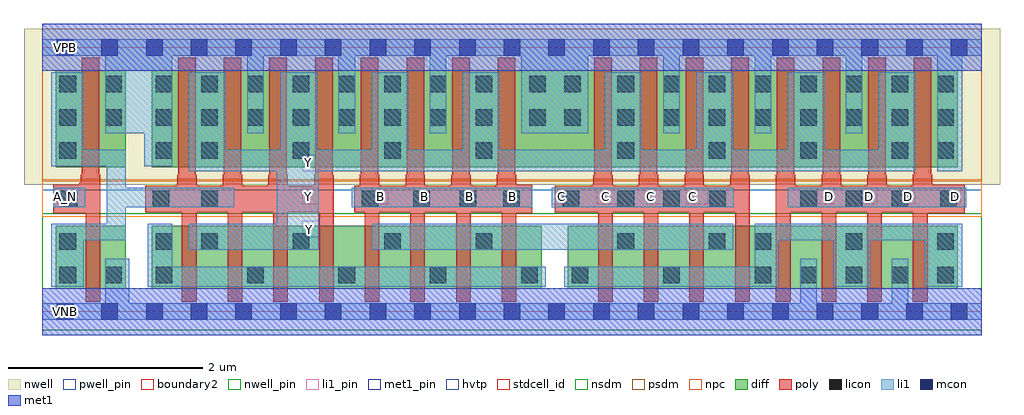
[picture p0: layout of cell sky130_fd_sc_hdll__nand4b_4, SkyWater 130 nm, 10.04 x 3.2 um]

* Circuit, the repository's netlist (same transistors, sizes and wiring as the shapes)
* Copyright 2020 The SkyWater PDK Authors
*
* Licensed under the Apache License, Version 2.0 (the "License");
* you may not use this file except in compliance with the License.
* You may obtain a copy of the License at
*
*     https://www.apache.org/licenses/LICENSE-2.0
*
* Unless required by applicable law or agreed to in writing, software
* distributed under the License is distributed on an "AS IS" BASIS,
* WITHOUT WARRANTIES OR CONDITIONS OF ANY KIND, either express or implied.
* See the License for the specific language governing permissions and
* limitations under the License.
*
* SPDX-License-Identifier: Apache-2.0

.SUBCKT sky130_fd_sc_hdll__nand4b_4 A_N B C D VGND VNB VPB VPWR Y
*.PININFO A_N:I B:I C:I D:I VGND:I VNB:I VPB:I VPWR:I Y:O
MMP0 Y A VPWR VPB sky130_fd_pr__pfet_01v8_hvt m=4 w=1.0U l=0.18U mult=1 sa=0.265
+ sb=0.265 sd=0.28 area=0.063 perim=1.14
MMP1 Y B VPWR VPB sky130_fd_pr__pfet_01v8_hvt m=4 w=1.0U l=0.18U mult=1 sa=0.265
+ sb=0.265 sd=0.28 area=0.063 perim=1.14
MMP2 Y C VPWR VPB sky130_fd_pr__pfet_01v8_hvt m=4 w=1.0U l=0.18U mult=1 sa=0.265
+ sb=0.265 sd=0.28 area=0.063 perim=1.14
MMP3 Y D VPWR VPB sky130_fd_pr__pfet_01v8_hvt m=4 w=1.0U l=0.18U mult=1 sa=0.265
+ sb=0.265 sd=0.28 area=0.063 perim=1.14
MMIP0 A A_N VPWR VPB sky130_fd_pr__pfet_01v8_hvt m=1 w=1.0U l=0.18U mult=1 sa=0.265
+ sb=0.265 sd=0.28 area=0.063 perim=1.14
MMN0 Y A sndA VNB sky130_fd_pr__nfet_01v8 m=4 w=0.65U l=0.15U mult=1 sa=0.265 sb=0.265
+ sd=0.28 area=0.063 perim=1.14
MMN1 sndA B sndB VNB sky130_fd_pr__nfet_01v8 m=4 w=0.65U l=0.15U mult=1 sa=0.265
+ sb=0.265 sd=0.28 area=0.063 perim=1.14
MMN2 sndB C sndC VNB sky130_fd_pr__nfet_01v8 m=4 w=0.65U l=0.15U mult=1 sa=0.265
+ sb=0.265 sd=0.28 area=0.063 perim=1.14
MMN3 sndC D VGND VNB sky130_fd_pr__nfet_01v8 m=4 w=0.65U l=0.15U mult=1 sa=0.265
+ sb=0.265 sd=0.28 area=0.063 perim=1.14
MMIN0 A A_N VGND VNB sky130_fd_pr__nfet_01v8 m=1 w=0.65U l=0.15U mult=1 sa=0.265
+ sb=0.265 sd=0.28 area=0.063 perim=1.14
.ENDS sky130_fd_sc_hdll__nand4b_4

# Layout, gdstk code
import gdstk
lib = gdstk.Library(unit=1e-6, precision=1e-09)
def R(c, l, rs):  # rectangles x0, y0, x1, y1
    for r in rs: c.add(gdstk.rectangle(r[:2], r[2:], *l))
def A(c, l, x, y, w, h, nx, ny, dx, dy):  # array of equal rectangles
    R(c, l, [(x+i*dx, y+j*dy, x+i*dx+w, y+j*dy+h) for i in range(nx) for j in range(ny)])
def P(c, l, *ps):  # polygons
    for p in ps: c.add(gdstk.Polygon(p, *l))
nwell_pin = (64, 16)
nwell = (64, 20)
diff = (65, 20)
poly = (66, 20)
licon = (66, 44)
li1_pin = (67, 16)
li1 = (67, 20)
mcon = (67, 44)
met1_pin = (68, 16)
met1 = (68, 20)
hvtp = (78, 44)
stdcell_id = (81, 4)
nsdm = (93, 44)
psdm = (94, 20)
npc = (95, 20)
pwell_pin = (122, 16)
boundary2 = (236, 0)

sky130_fd_sc_hdll__nand4 = lib.new_cell('sky130_fd_sc_hdll__nand4b_4')
R(sky130_fd_sc_hdll__nand4, nwell_pin, [(0.15,2.635,0.32,2.805)])
R(sky130_fd_sc_hdll__nand4, nwell, [(-0.19,1.305,9.85,2.91)])
R(sky130_fd_sc_hdll__nand4, diff, [(0.135,0.235,0.855,0.885), (1.125,0.235,5.135,0.885), (5.405,0.235,9.415,0.885), (0.135,1.485,0.855,2.485), (1.125,1.485,9.415,2.485)])
P(sky130_fd_sc_hdll__nand4, poly, [(0.595,1.41),(0.585,1.41),(0.585,2.615),(0.405,2.615),(0.405,1.41),(0.395,1.41),(0.395,1.325),(0.38,1.325),(0.38,1.305),(0.11,1.305),(0.11,1.015),(0.445,1.015),(0.445,0.105),(0.595,0.105)],
  [(2.995,1.41),(2.985,1.41),(2.985,2.615),(2.805,2.615),(2.805,1.41),(2.795,1.41),(2.795,1.295),(2.525,1.295),(2.525,1.41),(2.515,1.41),(2.515,2.615),(2.335,2.615),(2.335,1.41),(2.325,1.41),(2.325,1.295),(2.055,1.295),(2.055,1.41),(2.045,1.41),(2.045,2.615),(1.865,2.615),(1.865,1.41),(1.855,1.41),(1.855,1.295),(1.585,1.295),(1.585,1.41),(1.575,1.41),(1.575,2.615),(1.395,2.615),(1.395,1.41),(1.385,1.41),(1.385,1.295),(1.055,1.295),(1.055,1.025),(1.435,1.025),(1.435,0.105),(1.585,0.105),(1.585,1.025),(1.905,1.025),(1.905,0.105),(2.055,0.105),(2.055,1.025),(2.375,1.025),(2.375,0.105),(2.525,0.105),(2.525,1.025),(2.845,1.025),(2.845,0.105),(2.995,0.105)],
  [(5.04,1.305),(4.875,1.305),(4.875,1.41),(4.865,1.41),(4.865,2.615),(4.685,2.615),(4.685,1.41),(4.675,1.41),(4.675,1.295),(4.405,1.295),(4.405,1.41),(4.395,1.41),(4.395,2.615),(4.215,2.615),(4.215,1.41),(4.205,1.41),(4.205,1.295),(3.935,1.295),(3.935,1.41),(3.925,1.41),(3.925,2.615),(3.745,2.615),(3.745,1.41),(3.735,1.41),(3.735,1.295),(3.465,1.295),(3.465,1.41),(3.455,1.41),(3.455,2.615),(3.275,2.615),(3.275,1.41),(3.265,1.41),(3.265,1.295),(3.205,1.295),(3.205,1.025),(3.315,1.025),(3.315,0.105),(3.465,0.105),(3.465,1.025),(3.785,1.025),(3.785,0.105),(3.935,0.105),(3.935,1.025),(4.255,1.025),(4.255,0.105),(4.405,0.105),(4.405,1.025),(4.725,1.025),(4.725,0.105),(4.875,0.105),(4.875,1.015),(5.04,1.015)],
  [(7.275,1.41),(7.265,1.41),(7.265,2.615),(7.085,2.615),(7.085,1.41),(7.075,1.41),(7.075,1.295),(6.805,1.295),(6.805,1.41),(6.795,1.41),(6.795,2.615),(6.615,2.615),(6.615,1.41),(6.605,1.41),(6.605,1.295),(6.335,1.295),(6.335,1.41),(6.325,1.41),(6.325,2.615),(6.145,2.615),(6.145,1.41),(6.135,1.41),(6.135,1.295),(5.865,1.295),(5.865,1.41),(5.855,1.41),(5.855,2.615),(5.675,2.615),(5.675,1.41),(5.665,1.41),(5.665,1.295),(5.27,1.295),(5.27,1.025),(5.715,1.025),(5.715,0.105),(5.865,0.105),(5.865,1.025),(6.185,1.025),(6.185,0.105),(6.335,0.105),(6.335,1.025),(6.655,1.025),(6.655,0.105),(6.805,0.105),(6.805,1.025),(7.125,1.025),(7.125,0.105),(7.275,0.105)],
  [(9.485,1.305),(9.155,1.305),(9.155,1.41),(9.145,1.41),(9.145,2.615),(8.965,2.615),(8.965,1.41),(8.955,1.41),(8.955,1.295),(8.685,1.295),(8.685,1.41),(8.675,1.41),(8.675,2.615),(8.495,2.615),(8.495,1.41),(8.485,1.41),(8.485,1.295),(8.215,1.295),(8.215,1.41),(8.205,1.41),(8.205,2.615),(8.025,2.615),(8.025,1.41),(8.015,1.41),(8.015,1.295),(7.745,1.295),(7.745,1.41),(7.735,1.41),(7.735,2.615),(7.555,2.615),(7.555,1.41),(7.545,1.41),(7.545,0.105),(7.695,0.105),(7.695,1.025),(8.015,1.025),(8.015,0.105),(8.165,0.105),(8.165,1.025),(8.485,1.025),(8.485,0.105),(8.635,0.105),(8.635,1.025),(8.955,1.025),(8.955,0.105),(9.105,0.105),(9.105,1.015),(9.485,1.015)])
A(sky130_fd_sc_hdll__nand4, licon, 1.165, 0.295, 0.17, 0.17, 5, 1, 0.94, 0)
A(sky130_fd_sc_hdll__nand4, licon, 5.445, 0.295, 0.17, 0.17, 3, 1, 0.94, 0)
A(sky130_fd_sc_hdll__nand4, licon, 7.795, 0.295, 0.17, 0.17, 4, 1, 0.47, 0)
A(sky130_fd_sc_hdll__nand4, licon, 1.635, 0.635, 0.17, 0.17, 4, 2, 0.94, 0.94)
A(sky130_fd_sc_hdll__nand4, licon, 7.325, 0.635, 0.17, 0.17, 3, 1, 0.94, 0)
A(sky130_fd_sc_hdll__nand4, licon, 7.795, 1.075, 0.17, 0.17, 3, 1, 0.47, 0)
A(sky130_fd_sc_hdll__nand4, licon, 0.175, 1.575, 0.17, 0.17, 1, 3, 0, 0.34)
A(sky130_fd_sc_hdll__nand4, licon, 5.915, 1.575, 0.17, 0.17, 4, 1, 0.94, 0)
A(sky130_fd_sc_hdll__nand4, licon, 1.165, 1.915, 0.17, 0.17, 8, 2, 0.47, 0.34)
A(sky130_fd_sc_hdll__nand4, licon, 5.915, 1.915, 0.17, 0.17, 8, 2, 0.47, 0.34)
R(sky130_fd_sc_hdll__nand4, licon, [(0.175,0.295,0.345,0.465), (0.645,0.295,0.815,0.465), (0.175,0.635,0.345,0.805), (1.165,0.635,1.335,0.805), (5.915,0.635,6.085,0.805), (6.855,0.635,7.025,0.805), (0.19,1.075,0.36,1.245), (1.135,1.075,1.305,1.245), (1.635,1.075,1.805,1.245), (3.285,1.075,3.455,1.245), (3.815,1.075,3.985,1.245), (4.29,1.075,4.46,1.245), (4.74,1.075,4.91,1.245), (5.35,1.075,5.52,1.245), (5.915,1.075,6.085,1.245), (6.385,1.075,6.555,1.245), (6.86,1.075,7.03,1.245), (9.235,1.075,9.405,1.245), (1.165,1.575,1.335,1.745), (9.205,1.575,9.375,1.745), (0.645,1.915,0.815,2.085), (5.005,1.915,5.175,2.085), (5.365,1.915,5.535,2.085), (0.645,2.255,0.815,2.425), (5.005,2.255,5.175,2.425), (5.365,2.255,5.535,2.425)])
A(sky130_fd_sc_hdll__nand4, li1_pin, 2.67, 0.765, 0.17, 0.17, 1, 3, 0, 0.34)
R(sky130_fd_sc_hdll__nand4, li1_pin, [(0.15,1.105,0.32,1.275), (3.385,1.105,3.555,1.275), (3.82,1.105,3.99,1.275), (4.29,1.105,4.46,1.275), (4.74,1.105,4.91,1.275), (5.24,1.105,5.41,1.275), (5.7,1.105,5.92,1.275), (6.21,1.105,6.43,1.275), (6.625,1.105,6.845,1.275), (7.97,1.105,8.14,1.275), (8.415,1.105,8.585,1.275), (8.81,1.105,8.98,1.275), (9.275,1.105,9.445,1.275)])
R(sky130_fd_sc_hdll__nand4, li1, [(3.385,0.635,7.105,0.905), (0.11,1.075,0.44,1.275), (3.18,1.075,5.04,1.275), (5.24,1.075,7.11,1.275), (7.665,1.075,9.505,1.275)])
P(sky130_fd_sc_hdll__nand4, li1, [(1.975,1.275),(0.855,1.275),(0.855,1.665),(0.425,1.665),(0.425,2.465),(0.09,2.465),(0.09,1.495),(0.66,1.495),(0.66,0.905),(0.09,0.905),(0.09,0.255),(0.425,0.255),(0.425,0.735),(0.855,0.735),(0.855,1.075),(1.975,1.075)],
  [(5.175,0.465),(1.335,0.465),(1.335,0.905),(1.085,0.905),(1.085,0.255),(5.175,0.255)],
  [(8.985,2.465),(8.605,2.465),(8.605,1.665),(8.045,1.665),(8.045,2.465),(7.665,2.465),(7.665,1.665),(7.105,1.665),(7.105,2.465),(6.725,2.465),(6.725,1.665),(6.165,1.665),(6.165,2.465),(5.785,2.465),(5.785,1.665),(4.705,1.665),(4.705,2.465),(4.325,2.465),(4.325,1.665),(3.765,1.665),(3.765,2.465),(3.385,2.465),(3.385,1.665),(2.825,1.665),(2.825,2.465),(2.445,2.465),(2.445,1.665),(1.885,1.665),(1.885,2.465),(1.505,2.465),(1.505,1.445),(2.41,1.445),(2.41,0.905),(1.505,0.905),(1.505,0.635),(2.84,0.635),(2.84,1.445),(8.985,1.445)],
  [(9.66,0.085),(8.905,0.085),(8.905,0.545),(8.735,0.545),(8.735,0.085),(7.965,0.085),(7.965,0.545),(7.795,0.545),(7.795,0.085),(0.895,0.085),(0.895,0.545),(0.645,0.545),(0.645,0.085),(0,0.085),(0,-0.085),(9.66,-0.085)],
  [(9.66,2.805),(0,2.805),(0,2.635),(0.645,2.635),(0.645,1.835),(1.045,1.835),(1.045,1.495),(1.335,1.495),(1.335,2.635),(2.105,2.635),(2.105,1.835),(2.275,1.835),(2.275,2.635),(3.045,2.635),(3.045,1.835),(3.215,1.835),(3.215,2.635),(3.985,2.635),(3.985,1.835),(4.155,1.835),(4.155,2.635),(4.925,2.635),(4.925,1.835),(5.615,1.835),(5.615,2.635),(6.385,2.635),(6.385,1.835),(6.555,1.835),(6.555,2.635),(7.325,2.635),(7.325,1.835),(7.495,1.835),(7.495,2.635),(8.265,2.635),(8.265,1.835),(8.435,1.835),(8.435,2.635),(9.205,2.635),(9.205,1.445),(9.46,1.445),(9.46,2.635),(9.66,2.635)],
  [(9.46,0.905),(7.325,0.905),(7.325,0.465),(5.365,0.465),(5.365,0.255),(7.575,0.255),(7.575,0.735),(8.135,0.735),(8.135,0.255),(8.515,0.255),(8.515,0.735),(9.075,0.735),(9.075,0.255),(9.46,0.255)])
A(sky130_fd_sc_hdll__nand4, mcon, 0.145, -0.085, 0.17, 0.17, 21, 2, 0.46, 2.72)
R(sky130_fd_sc_hdll__nand4, met1_pin, [(0.15,-0.085,0.32,0.085), (0.15,2.635,0.32,2.805)])
R(sky130_fd_sc_hdll__nand4, met1, [(0,-0.24,9.66,0.24), (0,2.48,9.66,2.96)])
R(sky130_fd_sc_hdll__nand4, hvtp, [(0,1.25,9.66,2.72)])
R(sky130_fd_sc_hdll__nand4, stdcell_id, [(0,0,9.66,2.72)])
R(sky130_fd_sc_hdll__nand4, nsdm, [(0,-0.19,9.66,1.015)])
R(sky130_fd_sc_hdll__nand4, psdm, [(0,1.355,9.66,2.91)])
R(sky130_fd_sc_hdll__nand4, npc, [(0,0.975,9.66,1.345)])
R(sky130_fd_sc_hdll__nand4, pwell_pin, [(0.15,-0.085,0.32,0.085)])
R(sky130_fd_sc_hdll__nand4, boundary2, [(0,0,9.66,2.72)])
sky130_fd_sc_hdll__nand4.add(gdstk.Label('C', (6.685,1.19), layer=67, texttype=5))
sky130_fd_sc_hdll__nand4.add(gdstk.Label('D', (8.51,1.19), layer=67, texttype=5))
sky130_fd_sc_hdll__nand4.add(gdstk.Label('D', (8.095,1.19), layer=67, texttype=5))
sky130_fd_sc_hdll__nand4.add(gdstk.Label('D', (8.905,1.19), layer=67, texttype=5))
sky130_fd_sc_hdll__nand4.add(gdstk.Label('C', (5.795,1.19), layer=67, texttype=5))
sky130_fd_sc_hdll__nand4.add(gdstk.Label('C', (5.335,1.19), layer=67, texttype=5))
sky130_fd_sc_hdll__nand4.add(gdstk.Label('B', (4.84,1.19), layer=67, texttype=5))
sky130_fd_sc_hdll__nand4.add(gdstk.Label('B', (4.395,1.19), layer=67, texttype=5))
sky130_fd_sc_hdll__nand4.add(gdstk.Label('B', (3.935,1.19), layer=67, texttype=5))
sky130_fd_sc_hdll__nand4.add(gdstk.Label('B', (3.475,1.19), layer=67, texttype=5))
sky130_fd_sc_hdll__nand4.add(gdstk.Label('Y', (2.745,0.85), layer=67, texttype=5))
sky130_fd_sc_hdll__nand4.add(gdstk.Label('Y', (2.74,1.19), layer=67, texttype=5))
sky130_fd_sc_hdll__nand4.add(gdstk.Label('Y', (2.74,1.53), layer=67, texttype=5))
sky130_fd_sc_hdll__nand4.add(gdstk.Label('A_N', (0.235,1.19), layer=67, texttype=5))
sky130_fd_sc_hdll__nand4.add(gdstk.Label('C', (6.255,1.19), layer=67, texttype=5))
sky130_fd_sc_hdll__nand4.add(gdstk.Label('D', (9.39,1.19), layer=67, texttype=5))
sky130_fd_sc_hdll__nand4.add(gdstk.Label('VNB', (0.235,0), layer=64, texttype=59))
sky130_fd_sc_hdll__nand4.add(gdstk.Label('VPB', (0.235,2.72), layer=64, texttype=5))
sky130_fd_sc_hdll__nand4.add(gdstk.Label('VGND', (0.235,0), layer=68, texttype=5))
sky130_fd_sc_hdll__nand4.add(gdstk.Label('VPWR', (0.235,2.72), layer=68, texttype=5))

lib.write_gds('sky130_fd_sc_hdll__nand4b_4.gds')
